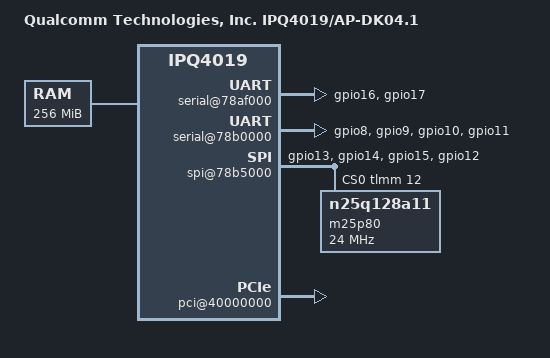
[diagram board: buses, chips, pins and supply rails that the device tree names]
// SPDX-License-Identifier: GPL-2.0
// Copyright (c) 2018, The Linux Foundation. All rights reserved.

#include "qcom-ipq4019.dtsi"
#include <dt-bindings/input/input.h>
#include <dt-bindings/gpio/gpio.h>

/ {
	model = "Qualcomm Technologies, Inc. IPQ4019/AP-DK04.1";

	aliases {
		serial0 = &blsp1_uart1;
		serial1 = &blsp1_uart2;
	};

	chosen {
		stdout-path = "serial0:115200n8";
	};

	memory {
		device_type = "memory";
		reg = <0x80000000 0x10000000>; /* 256MB */
	};

	soc {
		pinctrl@1000000 {
			serial_0_pins: serial0-pinmux {
				pins = "gpio16", "gpio17";
				function = "blsp_uart0";
				bias-disable;
			};

			serial_1_pins: serial1-pinmux {
				pins = "gpio8", "gpio9",
					"gpio10", "gpio11";
				function = "blsp_uart1";
				bias-disable;
			};

			spi_0_pins: spi-0-pinmux {
				pinmux {
					function = "blsp_spi0";
					pins = "gpio13", "gpio14", "gpio15";
					bias-disable;
				};
				pinmux_cs {
					function = "gpio";
					pins = "gpio12";
					bias-disable;
					output-high;
				};
			};

			i2c_0_pins: i2c-0-pinmux {
				pins = "gpio20", "gpio21";
				function = "blsp_i2c0";
				bias-disable;
			};

			nand_pins: nand-pins {
				pins = "gpio53", "gpio55", "gpio56",
					"gpio57", "gpio58", "gpio59",
					"gpio60", "gpio62", "gpio63",
					"gpio64", "gpio65", "gpio66",
					"gpio67", "gpio68", "gpio69";
				function = "qpic";
			};
		};

		serial@78af000 {
			pinctrl-0 = <&serial_0_pins>;
			pinctrl-names = "default";
			status = "okay";
		};

		serial@78b0000 {
			pinctrl-0 = <&serial_1_pins>;
			pinctrl-names = "default";
			status = "okay";
		};

		dma@7884000 {
			status = "okay";
		};

		spi@78b5000 { /* BLSP1 QUP1 */
			pinctrl-0 = <&spi_0_pins>;
			pinctrl-names = "default";
			status = "okay";
			cs-gpios = <&tlmm 12 0>;

			m25p80@0 {
				#address-cells = <1>;
				#size-cells = <1>;
				reg = <0>;
				compatible = "n25q128a11";
				spi-max-frequency = <24000000>;
			};
		};

		pci@40000000 {
			status = "okay";
			perst-gpio = <&tlmm 38 0x1>;
		};

		qpic-nand@79b0000 {
			pinctrl-0 = <&nand_pins>;
			pinctrl-names = "default";
		};
	};
};
